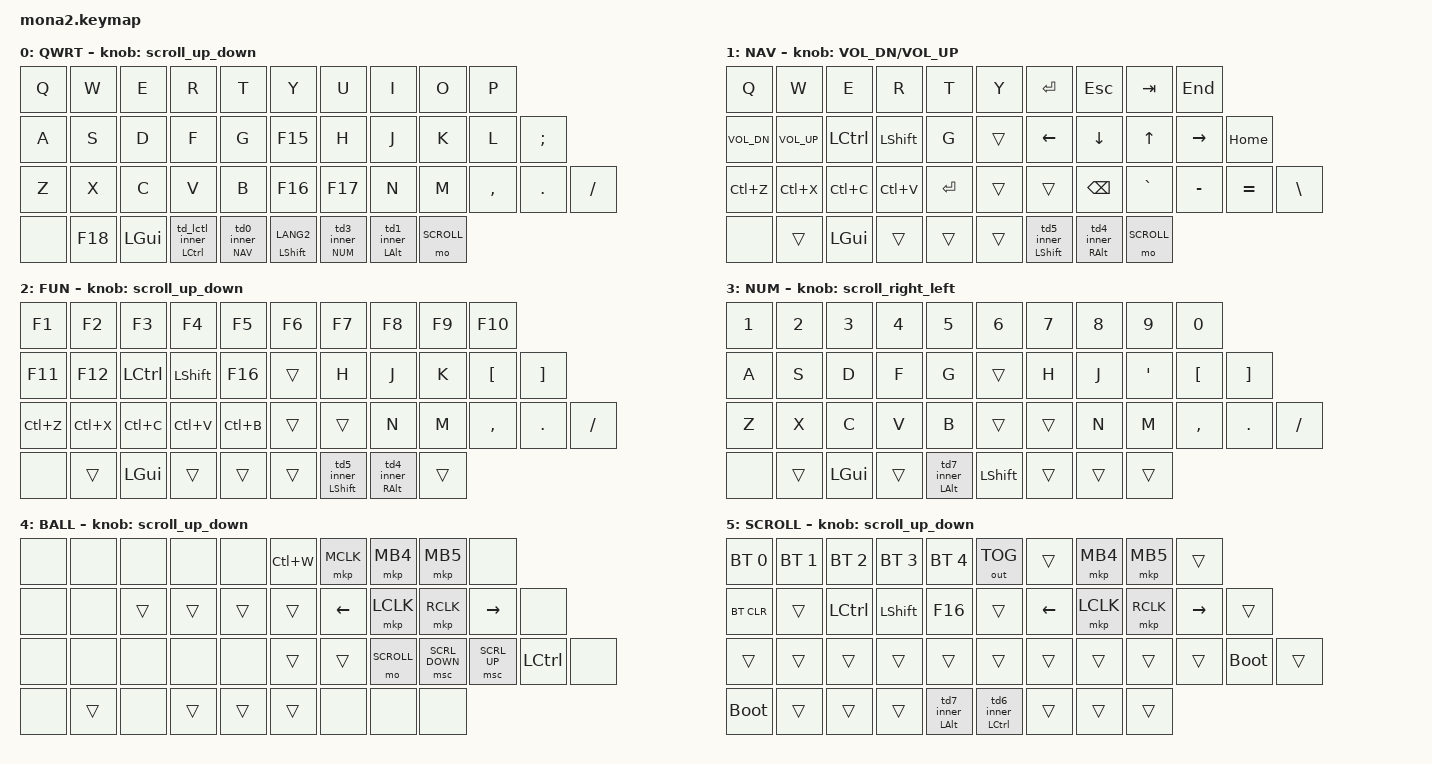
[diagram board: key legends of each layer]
// moNa2 keymap — zmk-config-Keyball44 からの移植版。
//
// Keyball44 = 6列/側 x 3段 + 親指 5+3 = 44キー (外側の列は &none で未使用 = 実質 5列/側)
// moNa2     = 5列/側 x 3段 + 内側エッジ4キー + 下段 左6/右3 = 42キー
//
// 英字コア (5列/側 x 3段) は 1:1 で対応する。親指は内側から対応付けた:
//   moNa2 p35..p38 <- Keyball44 の左親指4キー (LGUI / td_lctl / td0 NAV / mt LSHFT)
//   moNa2 p39..p41 <- Keyball44 の右親指3キー (td3 NUM / td1 LALT / mo SCROLL)
// moNa2 固有キー:
//   p15 / p26 / p27 / p34 = 内側エッジの自由枠。純正の F13..F16 を F15..F18 に変更
//   p33 = 左下最外の余りキー。SCROLL 層で左半体の &bootloader
//   p31 = SCROLL 層で右半体の &bootloader (右から2列目の最下段。Keyball44 と同じ相対位置)

#include <input/processors.dtsi>
#include <dt-bindings/zmk/input_transform.h>
#include <zephyr/dt-bindings/input/input-event-codes.h>
#include <behaviors.dtsi>
#include <dt-bindings/zmk/bt.h>
#include <dt-bindings/zmk/keys.h>
#include <dt-bindings/zmk/outputs.h>
#include <dt-bindings/zmk/pointing.h>

// ZMK_POINTING_DEFAULT_SCRL_VAL は定義しない (= ZMK 既定の 10)。
// upstream の純正キーマップは 100 を定義しており、&msc SCRL_* を使う
// BALL 層のスクロールキーとノブが既定の10倍動いていた。
// Keyball39/44 と CLine46 はいずれも未定義なので、揃えるために外した。

#define DEFAULT 0
#define NAV     1
#define FUN     2
#define NUM     3
#define BALL    4
#define SCROLL  5

&lt {
    tapping-term-ms = <180>;
    flavor = "hold-preferred";
    quick-tap-ms = <150>;
    require-prior-idle-ms = <80>;
};

&mt {
    tapping-term-ms = <180>;
    flavor = "hold-preferred";
    quick-tap-ms = <150>;
    require-prior-idle-ms = <80>;
};

&caps_word { continue-list = <UNDERSCORE MINUS>; };

/ {
    combos {
        compatible = "zmk,combos";

        // 純正から継承。S+D 同時押しで TAB。
        tab {
            bindings = <&kp TAB>;
            key-positions = <11 12>;
        };
    };

    behaviors {
        scroll_up_down: mouse_wheel_up_down {
            compatible = "zmk,behavior-sensor-rotate";
            #sensor-binding-cells = <0>;
            bindings = <&msc SCRL_DOWN>, <&msc SCRL_UP>;

            tap-ms = <20>;
        };

        scroll_right_left: mouse_wheel_right_left {
            compatible = "zmk,behavior-sensor-rotate";
            #sensor-binding-cells = <0>;
            bindings = <&msc SCRL_LEFT>, <&msc SCRL_RIGHT>;

            tap-ms = <20>;
        };

        // === 左親指キー: hold=引数のmod(LCTRL) / 1タップ=無反応 / 2タップ=LC(LSHFT) ===
        // (旧 td_ball。BALL 層とは無関係のため改名)
        td_lctl_inner: td_lctl_inner {
            compatible = "zmk,behavior-tap-dance";
            #binding-cells = <0>;
            tapping-term-ms = <250>;
            bindings = <&none>, <&kp LC(LSHFT)>;
        };
        td_lctl: td_lctl {
            compatible = "zmk,behavior-hold-tap";
            #binding-cells = <2>;
            flavor = "hold-preferred";
            tapping-term-ms = <250>;
            quick-tap-ms = <250>;
            require-prior-idle-ms = <80>;
            bindings = <&kp>, <&td_lctl_inner>;
        };

        // === Vial tap-dance 再現 (逆ネスト方式 + quick-tap-ms) ===
        // 外側 hold-tap（hold判定をpress時点で確立 → ホールド+他キー即動作）
        // 内側 tap-dance（tap時に多重押下で2nd-action発動）
        // quick-tap-ms により「タップ→ホールド」も内側で正しく検出

        // --- 内側 tap-dance: tap時の単押し/連打分岐 ---
        td0_inner: td0_inner {
            compatible = "zmk,behavior-tap-dance";
            #binding-cells = <0>;
            tapping-term-ms = <250>;
            bindings = <&kp SPACE>, <&mo FUN>;
        };
        td1_inner: td1_inner {
            compatible = "zmk,behavior-tap-dance";
            #binding-cells = <0>;
            tapping-term-ms = <250>;
            bindings = <&kp SPACE>, <&kp LSHFT>;
        };
        td2_inner: td2_inner {
            compatible = "zmk,behavior-tap-dance";
            #binding-cells = <0>;
            tapping-term-ms = <250>;
            bindings = <&kp LANG2>, <&kp LCTRL>;
        };
        td3_inner: td3_inner {
            compatible = "zmk,behavior-tap-dance";
            #binding-cells = <0>;
            tapping-term-ms = <250>;
            bindings = <&kp LANG1>, <&kp LCTRL>;
        };
        td4_inner: td4_inner {
            compatible = "zmk,behavior-tap-dance";
            #binding-cells = <0>;
            tapping-term-ms = <250>;
            bindings = <&none>, <&sk RA(RSHFT)>;
        };
        td5_inner: td5_inner {
            compatible = "zmk,behavior-tap-dance";
            #binding-cells = <0>;
            tapping-term-ms = <250>;
            bindings = <&kp DEL>, <&kp LCTRL>;
        };
        td6_inner: td6_inner {
            compatible = "zmk,behavior-tap-dance";
            #binding-cells = <0>;
            tapping-term-ms = <250>;
            bindings = <&none>, <&kp LSHFT>;
        };
        td7_inner: td7_inner {
            compatible = "zmk,behavior-tap-dance";
            #binding-cells = <0>;
            tapping-term-ms = <250>;
            bindings = <&none>, <&kp LSHFT>;
        };

        // --- 外側 hold-tap: hold-preferred+quick-tap-ms で全機能を両立 ---
        td0: td0 { // hold=MO(layer), tap=td0_inner / 呼出: &td0 NAV 0
            compatible = "zmk,behavior-hold-tap";
            #binding-cells = <2>;
            flavor = "hold-preferred";
            tapping-term-ms = <250>;
            quick-tap-ms = <250>;
            require-prior-idle-ms = <80>;
            bindings = <&mo>, <&td0_inner>;
        };
        td1: td1 { // hold=&kp(mod), tap=td1_inner / 呼出: &td1 LALT 0
            compatible = "zmk,behavior-hold-tap";
            #binding-cells = <2>;
            flavor = "hold-preferred";
            tapping-term-ms = <250>;
            quick-tap-ms = <250>;
            require-prior-idle-ms = <80>;
            bindings = <&kp>, <&td1_inner>;
        };
        td2: td2 { // 呼出: &td2 FUN 0
            compatible = "zmk,behavior-hold-tap";
            #binding-cells = <2>;
            flavor = "hold-preferred";
            tapping-term-ms = <250>;
            quick-tap-ms = <250>;
            require-prior-idle-ms = <80>;
            bindings = <&mo>, <&td2_inner>;
        };
        td3: td3 { // 呼出: &td3 NUM 0
            compatible = "zmk,behavior-hold-tap";
            #binding-cells = <2>;
            flavor = "hold-preferred";
            tapping-term-ms = <250>;
            quick-tap-ms = <250>;
            require-prior-idle-ms = <80>;
            bindings = <&mo>, <&td3_inner>;
        };
        td4: td4 { // 呼出: &td4 RALT 0
            compatible = "zmk,behavior-hold-tap";
            #binding-cells = <2>;
            flavor = "hold-preferred";
            tapping-term-ms = <250>;
            quick-tap-ms = <250>;
            require-prior-idle-ms = <80>;
            bindings = <&kp>, <&td4_inner>;
        };
        td5: td5 { // 呼出: &td5 LSHFT 0
            compatible = "zmk,behavior-hold-tap";
            #binding-cells = <2>;
            flavor = "hold-preferred";
            tapping-term-ms = <250>;
            quick-tap-ms = <250>;
            require-prior-idle-ms = <80>;
            bindings = <&kp>, <&td5_inner>;
        };
        td6: td6 { // 呼出: &td6 LCTRL 0
            compatible = "zmk,behavior-hold-tap";
            #binding-cells = <2>;
            flavor = "hold-preferred";
            tapping-term-ms = <250>;
            quick-tap-ms = <250>;
            require-prior-idle-ms = <80>;
            bindings = <&kp>, <&td6_inner>;
        };
        td7: td7 { // 呼出: &td7 LALT 0
            compatible = "zmk,behavior-hold-tap";
            #binding-cells = <2>;
            flavor = "hold-preferred";
            tapping-term-ms = <250>;
            quick-tap-ms = <250>;
            require-prior-idle-ms = <80>;
            bindings = <&kp>, <&td7_inner>;
        };
    };

    keymap {
        compatible = "zmk,keymap";

        // L0: 英字 / 親指: td0=NAV, mt=LSHFT, td3=NUM, td1=LALT
        default_layer {
            display-name = "QWRT";
            bindings = <
&kp Q              &kp W              &kp E              &kp R              &kp T        &kp Y              &kp U              &kp I              &kp O              &kp P
&kp A              &kp S              &kp D              &kp F              &kp G        &kp F15            &kp H              &kp J              &kp K              &kp L              &kp SEMI
&kp Z              &kp X              &kp C              &kp V              &kp B              &kp F16        &kp F17            &kp N              &kp M              &kp COMMA          &kp DOT            &kp FSLH
&none              &kp F18            &kp LGUI           &td_lctl LCTRL 0   &td0 NAV 0         &mt LSHFT LANG2        &td3 NUM 0         &td1 LALT 0        &mo SCROLL
            >;

            sensor-bindings = <&scroll_up_down>;
        };

        // L1: ナビ / 音量 / コピペ (ノブ=音量)
        nav_layer {
            display-name = "NAV";
            bindings = <
&kp Q              &kp W              &kp E              &kp R              &kp T        &kp Y              &kp ENTER          &kp ESC            &kp TAB            &kp END
&kp C_VOL_DN       &kp C_VOL_UP       &kp LCTRL          &kp LSHFT          &kp G        &trans             &kp LEFT           &kp DOWN           &kp UP             &kp RIGHT          &kp HOME
&kp LC(Z)          &kp LC(X)          &kp LC(C)          &kp LC(V)          &kp ENTER          &trans        &trans             &kp BSPC           &kp GRAVE          &kp MINUS          &kp EQUAL          &kp BSLH
&none              &trans             &kp LGUI           &trans             &trans             &trans        &td5 LSHFT 0       &td4 RALT 0        &mo SCROLL
            >;

            sensor-bindings = <&inc_dec_kp C_VOL_DN C_VOL_UP>;
        };

        // L2: F-key / マウスホイール / マウスボタン
        fun_layer {
            display-name = "FUN";
            bindings = <
&kp F1             &kp F2             &kp F3             &kp F4             &kp F5        &kp F6             &kp F7             &kp F8             &kp F9             &kp F10
&kp F11            &kp F12            &kp LCTRL          &kp LSHFT          &kp F16        &trans             &kp H              &kp J              &kp K              &kp LBKT           &kp RBKT
&kp LC(Z)          &kp LC(X)          &kp LC(C)          &kp LC(V)          &kp LC(B)          &trans        &trans             &kp N              &kp M              &kp COMMA          &kp DOT            &kp FSLH
&none              &trans             &kp LGUI           &trans             &trans             &trans        &td5 LSHFT 0       &td4 RALT 0        &trans
            >;

            sensor-bindings = <&scroll_up_down>;
        };

        // L3: 数字行 (ノブ=横スクロール)
        num_layer {
            display-name = "NUM";
            bindings = <
&kp N1             &kp N2             &kp N3             &kp N4             &kp N5        &kp N6             &kp N7             &kp N8             &kp N9             &kp N0
&kp A              &kp S              &kp D              &kp F              &kp G        &trans             &kp H              &kp J              &kp SQT            &kp LBKT           &kp RBKT
&kp Z              &kp X              &kp C              &kp V              &kp B              &trans        &trans             &kp N              &kp M              &kp COMMA          &kp DOT            &kp FSLH
&none              &trans             &kp LGUI           &trans             &td7 LALT 0        &kp LSHFT        &trans             &trans             &trans
            >;

            sensor-bindings = <&scroll_right_left>;
        };

        // L4: BALL (マウスボタン / スクロール起動) — ボール移動で自動的に入る
        ball_layer {
            display-name = "BALL";
            bindings = <
&none              &none              &none              &none              &none        &kp LC(W)          &mkp MCLK          &mkp MB4           &mkp MB5           &none
&none              &none              &trans             &trans             &trans        &trans             &kp LEFT           &mkp LCLK          &mkp RCLK          &kp RIGHT          &none
&none              &none              &none              &none              &none              &trans        &trans             &mo SCROLL         &msc SCRL_DOWN     &msc SCRL_UP       &kp LCTRL          &none
&none              &trans             &none              &trans             &trans             &trans        &none              &none              &none
            >;

            sensor-bindings = <&scroll_up_down>;
        };

        // L5: SCROLL (BT/出力切替 / 方向スクロール / bootloader)
        scroll_layer {
            display-name = "SCROLL";
            bindings = <
&bt BT_SEL 0       &bt BT_SEL 1       &bt BT_SEL 2       &bt BT_SEL 3       &bt BT_SEL 4        &out OUT_TOG       &trans             &mkp MB4           &mkp MB5           &trans
&bt BT_CLR         &trans             &kp LCTRL          &kp LSHFT          &kp F16        &trans             &kp LEFT           &mkp LCLK          &mkp RCLK          &kp RIGHT          &trans
&trans             &trans             &trans             &trans             &trans             &trans        &trans             &trans             &trans             &trans             &bootloader        &trans
&bootloader        &trans             &trans             &trans             &td7 LALT 0        &td6 LCTRL 0        &trans             &trans             &trans
            >;

            sensor-bindings = <&scroll_up_down>;
        };
    };
};
